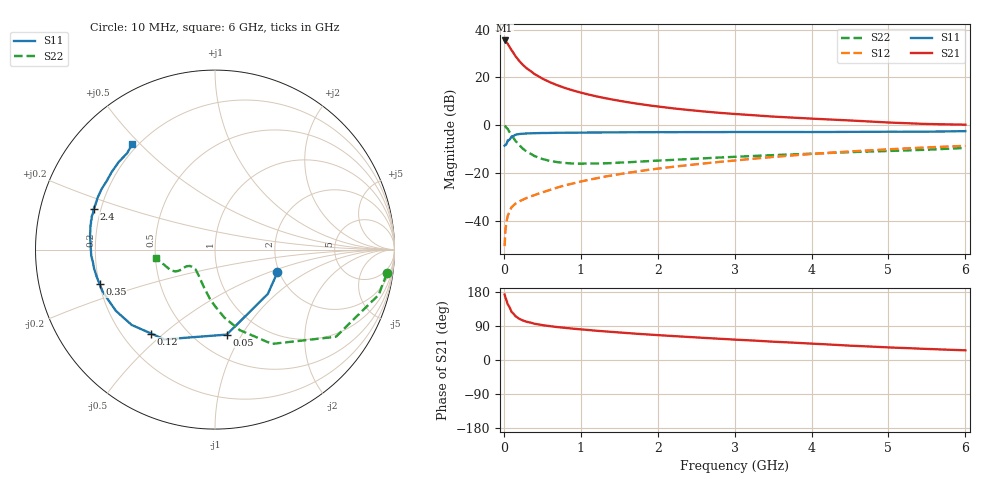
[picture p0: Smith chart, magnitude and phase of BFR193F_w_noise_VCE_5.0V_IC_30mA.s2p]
! Infineon Technologies  Discrete & RF Semiconductors
! BFR193F
! VCE =  5.0 V,  IC =  30 mA
! Common Emitter S-Parameters:  Jan 2017
# GHz  S  MA  R  50
!  f  S11  S21  S12  S22
! GHz  MAG  ANG  MAG  ANG  MAG  ANG  MAG  ANG
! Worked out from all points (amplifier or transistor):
!   77 points, 10 MHz to 6 GHz, reference 50 ohm
!   highest |S21| = 35.5 dB at 10 MHz (marker M1)
!   |S21| within 3 dB of that: start of sweep to 79.73 MHz
!   unconditionally stable (mu >= 1): 1.103 GHz to 2.707 GHz
!   at 130 MHz: K = 0.37, MSG = 31.8 dB, |S12| = -33.6 dB
!   at 2.2 GHz: K = 1.02, MAG = 11.4 dB, |S12| = -17.5 dB
!   at 6 GHz: K = 0.86, MSG = 4.4 dB, |S12| = -8.7 dB
!   lowest NFmin = 1.18 dB at 450 MHz
!   S11 on the Smith chart (normalised r, x): 10 MHz: 1.96, -0.57; 50 MHz: 0.70, -0.86; 120 MHz: 0.32, -0.46; 350 MHz: 0.20, -0.14; 2.4 GHz: 0.17, +0.16; 6 GHz: 0.18, +0.47
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0.01  0.3703 -20.0  59.28 172.8  0.0029 87.6  0.9667 -7.9
0.02  0.3842 -40.0  57.64 165.4  0.0061 75.9  0.9461 -15.4
0.05  0.4781 -82.1  50.57 147.2  0.0124 68.2  0.8306 -35.8
0.1  0.5743 -119.4  37.21 127.0  0.0189 53.1  0.6143 -58.8
0.12  0.5874 -127.2  33.39 123.3  0.0203 51.5  0.5527 -63.6
0.15  0.626 -137.9  28.01 115.9  0.0225 49.4  0.4698 -72.9
0.2  0.6492 -148.3  22.09 108.8  0.0251 49.0  0.381 -82.3
0.25  0.6591 -155.5  18.08 104.1  0.0274 49.8  0.3162 -89.8
0.3  0.6686 -160.1  15.33 100.7  0.0299 52.0  0.2774 -95.7
0.35  0.6711 -163.4  13.49 98.5  0.032 53.4  0.2497 -99.9
0.4  0.6759 -166.7  11.67 95.6  0.0342 54.7  0.2238 -105.2
0.5  0.6818 -171.0  9.417 92.1  0.0388 58.2  0.195 -112.7
0.6  0.6838 -174.2  7.895 89.3  0.0438 61.2  0.1768 -119.1
0.8  0.691 -179.0  5.951 84.8  0.0549 65.0  0.1604 -129.0
1.1  0.6969 175.6  4.365 79.1  0.0712 68.5  0.1565 -137.9
1.5  0.7039 170.5  3.231 72.7  0.0935 70.6  0.1634 -145.3
2.1  0.7103 164.1  2.346 64.5  0.1277 71.3  0.1832 -149.4
2.4  0.713 161.4  2.07 60.8  0.1449 71.1  0.1939 -149.9
3.1  0.715 155.4  1.667 52.8  0.1874 70.4  0.2198 -149.4
4.1  0.7152 146.5  1.341 42.2  0.254 66.9  0.2551 -151.8
5.1  0.7252 136.6  1.115 32.4  0.3164 61.6  0.2897 -161.5
6  0.7466 128.1  1.019 25.5  0.367 56.3  0.3323 -171.5
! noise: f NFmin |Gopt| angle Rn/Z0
0.45  1.18  0.39  176  0.06
0.9  1.27  0.42  176  0.07
1.9  1.84  0.57  -168  0.07
2.4  2.13  0.61  -159  0.11
